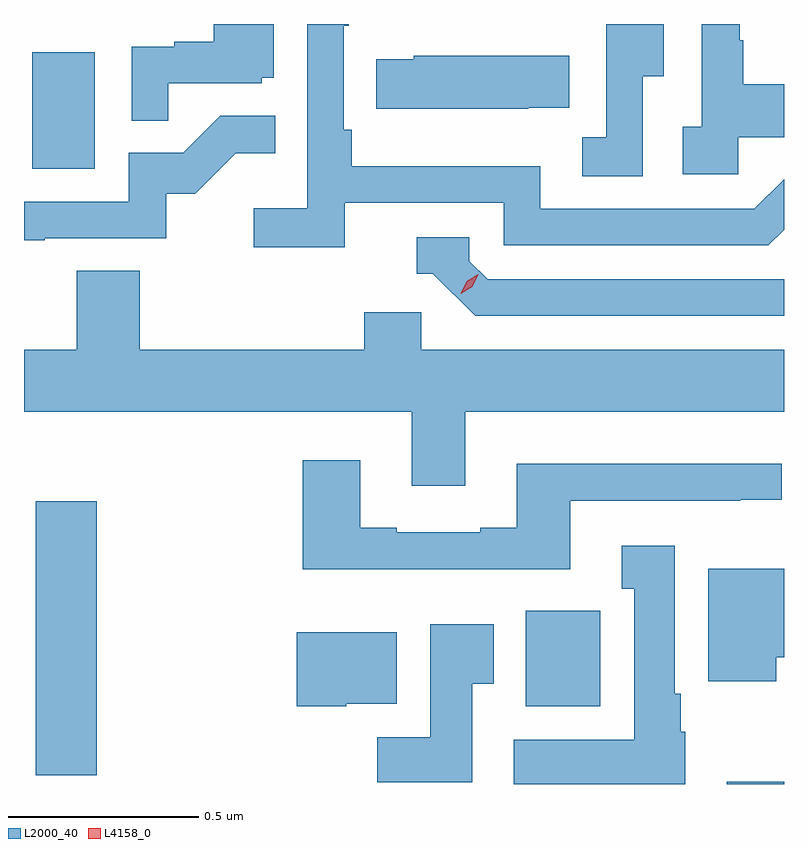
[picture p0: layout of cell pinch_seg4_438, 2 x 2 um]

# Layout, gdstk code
import gdstk
lib = gdstk.Library(unit=1e-6, precision=1e-09)
def R(c, l, rs):  # rectangles x0, y0, x1, y1
    for r in rs: c.add(gdstk.rectangle(r[:2], r[2:], *l))
def P(c, l, *ps):  # polygons
    for p in ps: c.add(gdstk.Polygon(p, *l))
L2000_40 = (2000, 40)
L4158_0 = (4158, 0)

pinch_seg4_438 = lib.new_cell('pinch_seg4_438')
R(pinch_seg4_438, L2000_40, [(928.163,785.185,928.314,785.191), (926.345,785.208,926.506,785.929), (927.635,785.39,927.831,785.641), (926.336,786.804,926.5,787.111)])
P(pinch_seg4_438, L2000_40, [(927.942,787.048),(927.997,787.048),(927.997,787.185),(927.846,787.185),(927.846,786.887),(927.783,786.887),(927.783,786.784),(927.942,786.784)],
  [(928.194,786.887),(928.314,786.887),(928.314,787.027),(928.207,787.027),(928.207,787.142),(928.197,787.142),(928.197,787.185),(928.098,787.185),(928.098,786.914),(928.047,786.914),(928.047,786.789),(928.194,786.789)],
  [(926.693,787.029),(926.94,787.029),(926.94,787.044),(926.971,787.044),(926.971,787.185),(926.813,787.185),(926.813,787.138),(926.709,787.138),(926.709,787.125),(926.598,787.125),(926.598,786.931),(926.693,786.931)],
  [(927.158,786.714),(927.576,786.714),(927.576,786.603),(928.273,786.603),(928.314,786.644),(928.314,786.777),(928.236,786.699),(927.672,786.699),(927.672,786.811),(927.176,786.811),(927.176,786.907),(927.156,786.907),(927.156,787.18),(927.169,787.18),(927.169,787.185),(927.06,787.185),(927.06,786.7),(926.919,786.7),(926.919,786.598),(927.158,786.598)],
  [(927.641,786.965),(927.749,786.965),(927.749,787.102),(927.339,787.102),(927.339,787.092),(927.241,787.092),(927.241,786.962),(927.641,786.962)],
  [(926.369,786.621),(926.688,786.621),(926.688,786.738),(926.764,786.738),(926.871,786.845),(926.975,786.845),(926.975,786.944),(926.831,786.944),(926.733,786.846),(926.589,786.846),(926.589,786.717),(926.314,786.717),(926.314,786.616),(926.369,786.616)],
  [(928.314,786.513),(927.534,786.513),(927.486,786.561),(927.486,786.624),(927.347,786.624),(927.347,786.528),(927.39,786.528),(927.501,786.417),(928.314,786.417)],
  [(927.475,786.164),(928.314,786.164),(928.314,786.328),(927.36,786.328),(927.36,786.426),(927.209,786.426),(927.209,786.328),(926.618,786.328),(926.618,786.536),(926.453,786.536),(926.453,786.328),(926.314,786.328),(926.314,786.164),(927.335,786.164),(927.335,785.97),(927.475,785.97)],
  [(927.751,785.931),(928.199,785.931),(928.199,785.933),(928.308,785.933),(928.308,786.028),(927.611,786.028),(927.611,785.86),(927.515,785.86),(927.515,785.847),(927.295,785.847),(927.295,785.86),(927.199,785.86),(927.199,786.037),(927.047,786.037),(927.047,785.75),(927.751,785.75)],
  [(928.054,785.322),(928.042,785.322),(928.042,785.422),(928.027,785.422),(928.027,785.812),(927.887,785.812),(927.887,785.699),(927.92,785.699),(927.92,785.302),(927.603,785.302),(927.603,785.185),(928.054,785.185)],
  [(928.294,785.519),(928.314,785.519),(928.314,785.752),(928.115,785.752),(928.115,785.456),(928.294,785.456)],
  [(927.493,785.449),(927.55,785.449),(927.55,785.605),(927.383,785.605),(927.383,785.308),(927.244,785.308),(927.244,785.19),(927.493,785.19)],
  [(927.162,785.396),(927.295,785.396),(927.295,785.584),(927.032,785.584),(927.032,785.39),(927.162,785.39)])
P(pinch_seg4_438, L4158_0, [(927.463,786.475),(927.463,786.475),(927.479,786.508),(927.51,786.527),(927.51,786.527),(927.51,786.526),(927.494,786.494),(927.463,786.475)])

lib.write_gds('pinch_seg4_438.gds')
